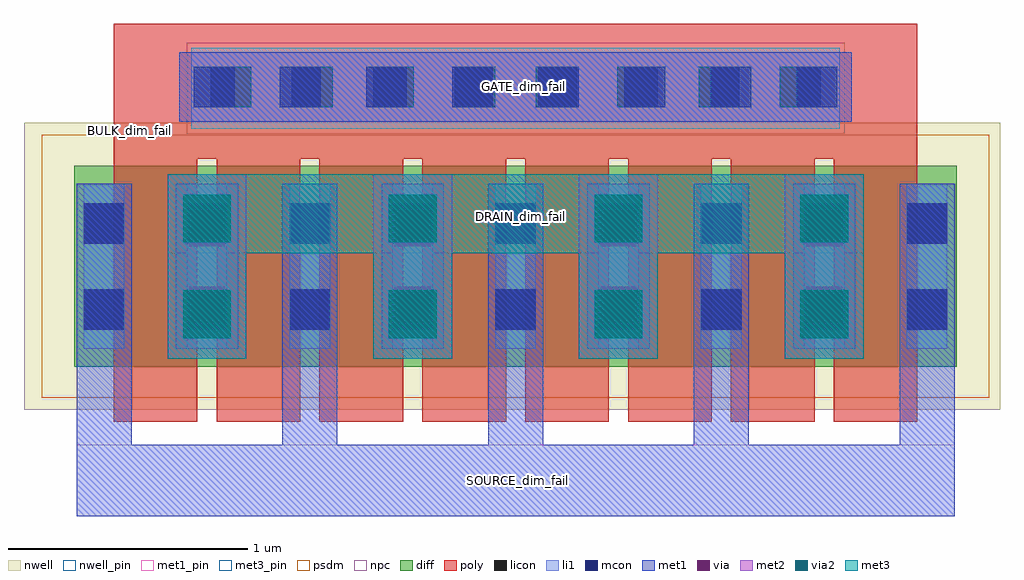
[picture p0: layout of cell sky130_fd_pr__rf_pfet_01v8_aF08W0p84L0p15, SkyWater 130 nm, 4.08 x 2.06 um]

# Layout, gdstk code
import gdstk
lib = gdstk.Library(unit=1e-6, precision=1e-09)
def R(c, l, rs):  # rectangles x0, y0, x1, y1
    for r in rs: c.add(gdstk.rectangle(r[:2], r[2:], *l))
def A(c, l, x, y, w, h, nx, ny, dx, dy):  # array of equal rectangles
    R(c, l, [(x+i*dx, y+j*dy, x+i*dx+w, y+j*dy+h) for i in range(nx) for j in range(ny)])
def P(c, l, *ps):  # polygons
    for p in ps: c.add(gdstk.Polygon(p, *l))
nwell_pin = (64, 16)
nwell = (64, 20)
diff = (65, 20)
poly = (66, 20)
licon = (66, 44)
li1 = (67, 20)
mcon = (67, 44)
met1_pin = (68, 16)
met1 = (68, 20)
via = (68, 44)
met2 = (69, 20)
via2 = (69, 44)
met3_pin = (70, 16)
met3 = (70, 20)
psdm = (94, 20)
npc = (95, 20)

sky130_fd_pr__rf_pfet_01 = lib.new_cell('sky130_fd_pr__rf_pfet_01v8_aF08W0p84L0p15')
R(sky130_fd_pr__rf_pfet_01, nwell_pin, [(0.425,1.16,0.455,1.185)])
R(sky130_fd_pr__rf_pfet_01, nwell, [(0,0,4.08,1.2)])
A(sky130_fd_pr__rf_pfet_01, diff, 0.475, 0.18, 0.15, 0.84, 8, 1, 0.43, 0)
A(sky130_fd_pr__rf_pfet_01, diff, 1.055, 0.18, 0.28, 0.84, 3, 1, 0.43, 0)
A(sky130_fd_pr__rf_pfet_01, diff, 1.085, 0.18, 0.25, 0.84, 3, 1, 0.86, 0)
A(sky130_fd_pr__rf_pfet_01, diff, 1.915, 0.18, 0.28, 0.84, 3, 1, 0.43, 0)
R(sky130_fd_pr__rf_pfet_01, diff, [(0.21,0.18,0.475,1.02), (0.24,0.18,0.475,1.02), (0.625,0.18,0.905,1.02), (1.055,0.18,1.335,1.02), (2.775,0.18,3.055,1.02), (3.205,0.18,3.485,1.02), (3.635,0.18,3.9,1.02), (3.635,0.18,3.9,1.02), (3.635,0.18,3.87,1.02), (3.665,0.18,3.9,1.02)])
P(sky130_fd_pr__rf_pfet_01, poly, [(0.375,-0.05),(0.375,1.615),(3.735,1.615),(3.735,-0.05),(3.385,-0.05),(3.385,1.05),(3.305,1.05),(3.305,-0.05),(2.955,-0.05),(2.955,1.05),(2.875,1.05),(2.875,-0.05),(2.525,-0.05),(2.525,1.05),(2.445,1.05),(2.445,-0.05),(2.095,-0.05),(2.095,1.05),(2.015,1.05),(2.015,-0.05),(1.665,-0.05),(1.665,1.05),(1.585,1.05),(1.585,-0.05),(1.235,-0.05),(1.235,1.05),(1.155,1.05),(1.155,-0.05),(0.805,-0.05),(0.805,1.05),(0.725,1.05),(0.725,-0.05)])
A(sky130_fd_pr__rf_pfet_01, licon, 0.25, 0.335, 0.17, 0.17, 9, 2, 0.43, 0.36)
A(sky130_fd_pr__rf_pfet_01, licon, 0.78, 1.265, 0.17, 0.17, 8, 1, 0.34, 0)
A(sky130_fd_pr__rf_pfet_01, li1, 0.25, 0.255, 0.17, 0.69, 9, 1, 0.43, 0)
R(sky130_fd_pr__rf_pfet_01, li1, [(0.7,1.175,3.41,1.515), (0.71,1.265,3.4,1.435)])
A(sky130_fd_pr__rf_pfet_01, mcon, 0.25, 0.335, 0.17, 0.17, 9, 2, 0.43, 0.36)
A(sky130_fd_pr__rf_pfet_01, mcon, 0.71, 1.265, 0.17, 0.17, 8, 1, 0.36, 0)
R(sky130_fd_pr__rf_pfet_01, met1_pin, [(0.22,-0.445,3.89,-0.145), (0.65,1.205,3.46,1.495)])
A(sky130_fd_pr__rf_pfet_01, met1, 0.635, 0.275, 0.26, 0.65, 4, 1, 0.86, 0)
R(sky130_fd_pr__rf_pfet_01, met1, [(0.65,1.205,3.46,1.495)])
A(sky130_fd_pr__rf_pfet_01, via, 0.69, 0.365, 0.15, 0.15, 4, 2, 0.86, 0.32)
A(sky130_fd_pr__rf_pfet_01, met2, 0.6, 0.215, 0.33, 0.77, 4, 1, 0.86, 0)
A(sky130_fd_pr__rf_pfet_01, met2, 0.635, 0.28, 0.26, 0.64, 4, 1, 0.86, 0)
A(sky130_fd_pr__rf_pfet_01, via2, 0.665, 0.3, 0.2, 0.2, 4, 2, 0.86, 0.4)
R(sky130_fd_pr__rf_pfet_01, met3_pin, [(0.6,0.655,3.51,0.985)])
A(sky130_fd_pr__rf_pfet_01, met3, 0.6, 0.215, 0.33, 0.77, 4, 1, 0.86, 0)
A(sky130_fd_pr__rf_pfet_01, psdm, 0.495, 0.05, 0.54, 1.1, 7, 1, 0.43, 0)
A(sky130_fd_pr__rf_pfet_01, psdm, 0.655, 0.05, 0.4, 1.1, 6, 1, 0.43, 0)
R(sky130_fd_pr__rf_pfet_01, psdm, [(0.075,0.05,0.605,1.15), (0.24,0.05,0.625,1.15), (3.235,0.05,3.87,1.15), (3.505,0.05,4.035,1.15)])
R(sky130_fd_pr__rf_pfet_01, npc, [(0.68,1.155,3.43,1.535)])
sky130_fd_pr__rf_pfet_01.add(gdstk.FlexPath([(0.6,0.82),(3.51,0.82)], 0.33, ends="flush", simple_path=True, layer=70, datatype=20))  # met3
sky130_fd_pr__rf_pfet_01.add(gdstk.FlexPath([(2.915,0.945),(2.915,-0.445)], 0.23, ends="flush", simple_path=True, layer=68, datatype=20))  # met1
sky130_fd_pr__rf_pfet_01.add(gdstk.FlexPath([(3.775,0.945),(3.775,-0.445)], 0.23, ends="flush", simple_path=True, layer=68, datatype=20))  # met1
sky130_fd_pr__rf_pfet_01.add(gdstk.FlexPath([(2.055,0.945),(2.055,-0.445)], 0.23, ends="flush", simple_path=True, layer=68, datatype=20))  # met1
sky130_fd_pr__rf_pfet_01.add(gdstk.FlexPath([(0.22,-0.295),(3.89,-0.295)], 0.3, ends="flush", simple_path=True, layer=68, datatype=20))  # met1
sky130_fd_pr__rf_pfet_01.add(gdstk.FlexPath([(1.195,0.945),(1.195,-0.445)], 0.23, ends="flush", simple_path=True, layer=68, datatype=20))  # met1
sky130_fd_pr__rf_pfet_01.add(gdstk.FlexPath([(3.345,0.945),(3.345,0.255)], 0.26, ends="flush", simple_path=True, layer=68, datatype=20))  # met1
sky130_fd_pr__rf_pfet_01.add(gdstk.FlexPath([(2.485,0.945),(2.485,0.255)], 0.26, ends="flush", simple_path=True, layer=68, datatype=20))  # met1
sky130_fd_pr__rf_pfet_01.add(gdstk.FlexPath([(1.625,0.945),(1.625,0.255)], 0.26, ends="flush", simple_path=True, layer=68, datatype=20))  # met1
sky130_fd_pr__rf_pfet_01.add(gdstk.FlexPath([(0.765,0.945),(0.765,0.255)], 0.26, ends="flush", simple_path=True, layer=68, datatype=20))  # met1
sky130_fd_pr__rf_pfet_01.add(gdstk.FlexPath([(0.335,0.945),(0.335,-0.445)], 0.23, ends="flush", simple_path=True, layer=68, datatype=20))  # met1
sky130_fd_pr__rf_pfet_01.add(gdstk.Label('DRAIN_dim_fail', (2.075,0.81), layer=70, texttype=16))
sky130_fd_pr__rf_pfet_01.add(gdstk.Label('SOURCE_dim_fail', (2.065,-0.295), layer=68, texttype=16))
sky130_fd_pr__rf_pfet_01.add(gdstk.Label('GATE_dim_fail', (2.09,1.35), layer=68, texttype=16))
sky130_fd_pr__rf_pfet_01.add(gdstk.Label('BULK_dim_fail', (0.44,1.17), layer=64, texttype=5))

lib.write_gds('sky130_fd_pr__rf_pfet_01v8_aF08W0p84L0p15.gds')
